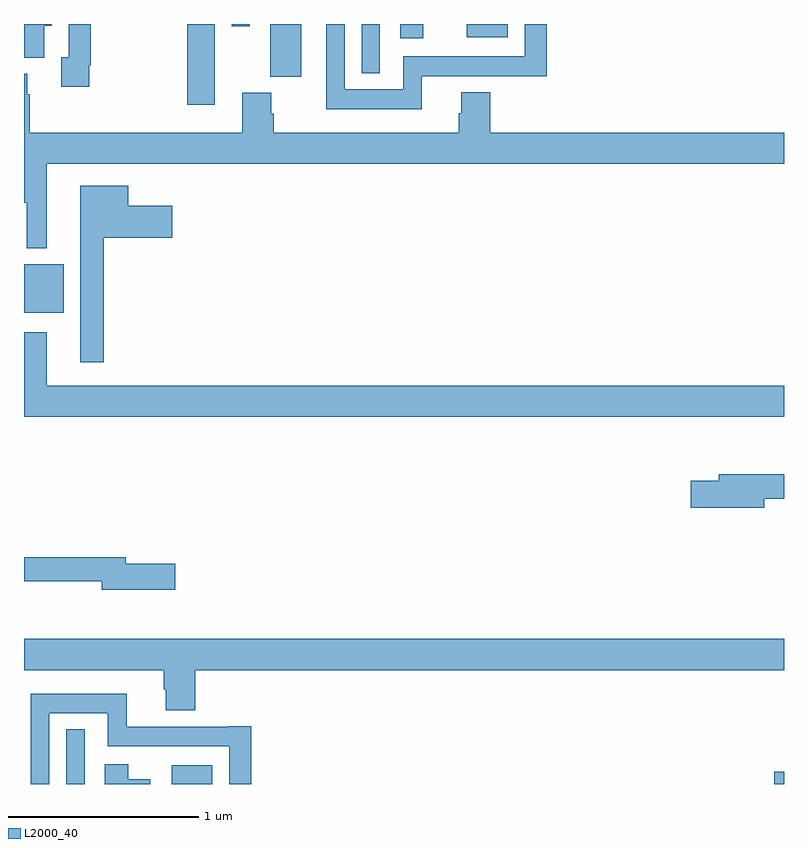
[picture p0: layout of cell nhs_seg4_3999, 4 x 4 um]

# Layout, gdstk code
import gdstk
lib = gdstk.Library(unit=1e-6, precision=1e-09)
def R(c, l, rs):  # rectangles x0, y0, x1, y1
    for r in rs: c.add(gdstk.rectangle(r[:2], r[2:], *l))
def P(c, l, *ps):  # polygons
    for p in ps: c.add(gdstk.Polygon(p, *l))
L2000_40 = (2000, 40)

nhs_seg4_3999 = lib.new_cell('nhs_seg4_3999')
R(nhs_seg4_3999, L2000_40, [(323.223,782.9,323.319,783.187), (323.777,782.9,323.992,782.998), (326.948,782.9,327,782.964), (323,785.381,323.209,785.635), (324.296,786.622,324.46,786.9), (324.777,786.641,324.873,786.9), (324.98,786.825,325.102,786.9), (325.331,786.83,325.546,786.9), (324.093,786.888,324.189,786.9)])
P(nhs_seg4_3999, L2000_40, [(325.094,786.626),(325.628,786.626),(325.628,786.624),(325.751,786.624),(325.751,786.9),(325.635,786.9),(325.635,786.73),(324.996,786.73),(324.996,786.556),(324.687,786.556),(324.687,786.9),(324.59,786.9),(324.59,786.452),(325.094,786.452)],
  [(323.344,786.682),(323.351,786.682),(323.351,786.9),(323.235,786.9),(323.235,786.726),(323.195,786.726),(323.195,786.57),(323.344,786.57)],
  [(324.004,786.794),(324.003,786.794),(324.003,786.9),(323.907,786.9),(323.907,786.898),(323.858,786.898),(323.858,786.474),(324.004,786.474)],
  [(323.107,786.89),(323.146,786.89),(323.146,786.9),(323,786.9),(323,786.722),(323.107,786.722)],
  [(323.119,786.164),(327,786.164),(327,786.328),(325.454,786.328),(325.454,786.541),(325.301,786.541),(325.301,786.429),(325.289,786.429),(325.289,786.328),(324.314,786.328),(324.314,786.428),(324.301,786.428),(324.301,786.537),(324.149,786.537),(324.149,786.328),(323.03,786.328),(323.03,786.53),(323.017,786.53),(323.017,786.637),(323,786.637),(323,785.959),(323.015,785.959),(323.015,785.72),(323.119,785.72)],
  [(323.419,785.774),(323.779,785.774),(323.779,785.944),(323.548,785.944),(323.548,786.049),(323.297,786.049),(323.297,785.121),(323.419,785.121)],
  [(327,784.996),(323.119,784.996),(323.119,785.278),(323,785.278),(323,784.832),(327,784.832)],
  [(326.896,784.402),(327,784.402),(327,784.531),(326.657,784.531),(326.657,784.497),(326.508,784.497),(326.508,784.355),(326.896,784.355)],
  [(323.797,784.058),(323.536,784.058),(323.536,784.094),(323,784.094),(323,783.966),(323.408,783.966),(323.408,783.923),(323.797,783.923)],
  [(323.9,783.5),(327,783.5),(327,783.664),(323,783.664),(323,783.5),(323.735,783.5),(323.735,783.399),(323.747,783.399),(323.747,783.287),(323.9,783.287)],
  [(323.133,783.272),(323.442,783.272),(323.442,783.098),(324.081,783.098),(324.081,782.9),(324.197,782.9),(324.197,783.205),(324.074,783.205),(324.074,783.202),(323.54,783.202),(323.54,783.376),(323.036,783.376),(323.036,782.9),(323.133,782.9)],
  [(323.665,782.926),(323.548,782.926),(323.548,783.004),(323.426,783.004),(323.426,782.9),(323.665,782.9)])

lib.write_gds('nhs_seg4_3999.gds')
